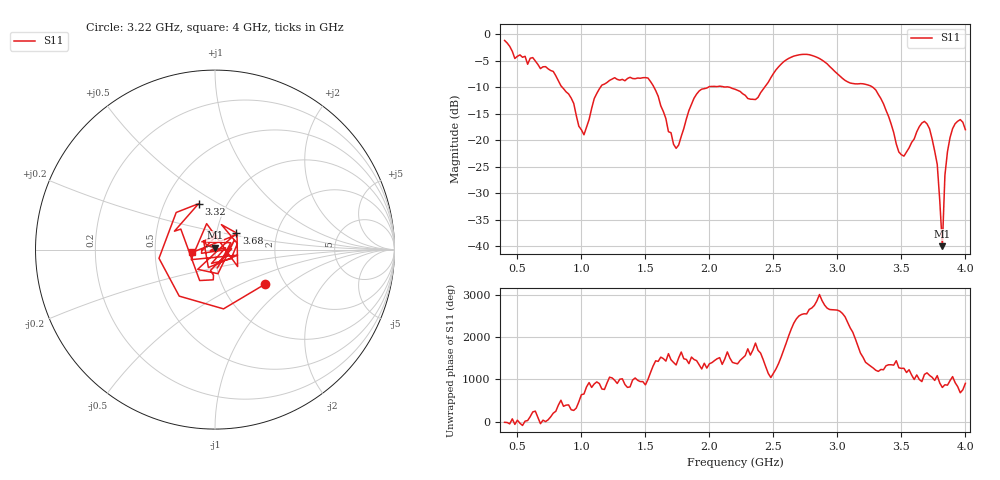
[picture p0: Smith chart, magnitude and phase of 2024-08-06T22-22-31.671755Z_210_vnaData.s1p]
!Created with skrf (http://scikit-rf.org).
# Hz S RI R 50.0
!freq ReS11 ImS11
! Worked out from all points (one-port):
!   181 points, 400 MHz to 4 GHz, reference 50 ohm
!   lowest |S11| = -39.9 dB at 3.82 GHz (marker M1), VSWR 1.02, Z = 50 + j1.01 ohm
!   |S11| at or under -10 dB: 852.1 MHz to 1.147 GHz (295.4 MHz wide, 29.5 % of centre); 1.568 GHz to 1.987 GHz (419.4 MHz wide, 23.6 % of centre); 3.279 GHz to end of sweep (the widest 3 of 4)
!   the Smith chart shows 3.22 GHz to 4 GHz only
!   S11 on the Smith chart (normalised r, x): 3.22 GHz: 1.59, -0.69; 3.32 GHz: 0.74, +0.41; 3.68 GHz: 1.25, +0.24; 4 GHz: 0.78, -0.02
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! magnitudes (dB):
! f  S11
! 400 MHz  -1.1
! 480 MHz  -4.5
! 620 MHz  -4.4
! 860 MHz  -10.2
! 1.02 GHz  -18.9
! 1.14 GHz  -10.3
! 1.3 GHz  -8.6
! 1.52 GHz  -8.2
! 1.72 GHz  -20.7
! 1.76 GHz  -20.9
! 1.92 GHz  -10.7
! 2.2 GHz  -10.3
! 2.36 GHz  -12.3
! 2.66 GHz  -4.1
! 2.84 GHz  -4.3
! 3.1 GHz  -9.2
! 3.22 GHz  -9.4
! 3.32 GHz  -11.3
! 3.48 GHz  -22.2
! 3.56 GHz  -21.4
! 3.68 GHz  -16.4
! 3.72 GHz  -17.8
! 3.78 GHz  -24.5
! 3.82 GHz  -39.9
! 3.84 GHz  -26.6
! 3.88 GHz  -19.5
! 3.96 GHz  -16.1
! 4 GHz  -18.0
